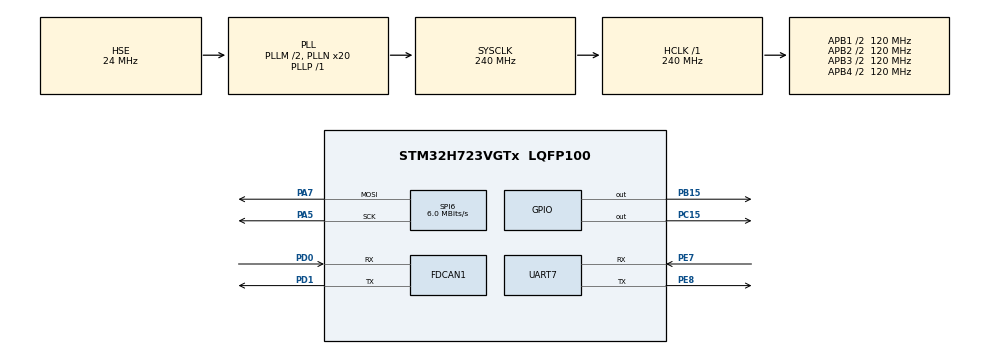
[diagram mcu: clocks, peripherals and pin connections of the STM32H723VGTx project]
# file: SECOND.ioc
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CORTEX_M7.CPU_DCache=Disabled
CORTEX_M7.CPU_ICache=Enabled
CORTEX_M7.MPU_Control=__NULL
CORTEX_M7.default_mode_Activation=1
Dma.Request0=UART7_RX
Dma.Request1=UART7_TX
Dma.UART7_RX.0.Direction=DMA_PERIPH_TO_MEMORY
Dma.UART7_RX.0.EventEnable=DISABLE
Dma.UART7_RX.0.FIFOMode=DMA_FIFOMODE_DISABLE
Dma.UART7_RX.0.Instance=DMA1_Stream1
Dma.UART7_RX.0.MemDataAlignment=DMA_MDATAALIGN_BYTE
Dma.UART7_RX.0.MemInc=DMA_MINC_ENABLE
Dma.UART7_RX.0.Mode=DMA_NORMAL
Dma.UART7_RX.0.PeriphDataAlignment=DMA_PDATAALIGN_BYTE
Dma.UART7_RX.0.PeriphInc=DMA_PINC_DISABLE
Dma.UART7_RX.0.Polarity=HAL_DMAMUX_REQ_GEN_RISING
Dma.UART7_RX.0.Priority=DMA_PRIORITY_LOW
Dma.UART7_RX.0.RequestNumber=1
Dma.UART7_RX.0.SignalID=NONE
Dma.UART7_RX.0.SyncEnable=DISABLE
Dma.UART7_RX.0.SyncPolarity=HAL_DMAMUX_SYNC_NO_EVENT
Dma.UART7_RX.0.SyncRequestNumber=1
Dma.UART7_RX.0.SyncSignalID=NONE
Dma.UART7_TX.1.Direction=DMA_MEMORY_TO_PERIPH
Dma.UART7_TX.1.EventEnable=DISABLE
Dma.UART7_TX.1.FIFOMode=DMA_FIFOMODE_DISABLE
Dma.UART7_TX.1.Instance=DMA1_Stream0
Dma.UART7_TX.1.MemDataAlignment=DMA_MDATAALIGN_BYTE
Dma.UART7_TX.1.MemInc=DMA_MINC_ENABLE
Dma.UART7_TX.1.Mode=DMA_NORMAL
Dma.UART7_TX.1.PeriphDataAlignment=DMA_PDATAALIGN_BYTE
Dma.UART7_TX.1.PeriphInc=DMA_PINC_DISABLE
Dma.UART7_TX.1.Polarity=HAL_DMAMUX_REQ_GEN_RISING
Dma.UART7_TX.1.Priority=DMA_PRIORITY_LOW
Dma.UART7_TX.1.RequestNumber=1
Dma.UART7_TX.1.SignalID=NONE
Dma.UART7_TX.1.SyncEnable=DISABLE
Dma.UART7_TX.1.SyncPolarity=HAL_DMAMUX_SYNC_NO_EVENT
Dma.UART7_TX.1.SyncRequestNumber=1
Dma.UART7_TX.1.SyncSignalID=NONE
FDCAN1.AutoRetransmission=ENABLE
FDCAN1.CalculateBaudRateNominal=1000000
FDCAN1.CalculateTimeBitNominal=1000
FDCAN1.CalculateTimeQuantumNominal=25.0
FDCAN1.DataPrescaler=3
FDCAN1.DataSyncJumpWidth=10
FDCAN1.DataTimeSeg1=29
FDCAN1.DataTimeSeg2=10
FDCAN1.Mode=FDCAN_MODE_NORMAL
FDCAN1.NominalPrescaler=3
FDCAN1.NominalSyncJumpWidth=10
FDCAN1.NominalTimeSeg1=29
FDCAN1.NominalTimeSeg2=10
FDCAN1.RxFifo0ElmtsNbr=16
FDCAN1.StdFiltersNbr=1
FDCAN1.TxFifoQueueElmtsNbr=8
Mcu.Family=STM32H7
Mcu.Name=STM32H723VGTx
Mcu.Package=LQFP100
NVIC.DMA1_Stream0_IRQn=true\:0\:0\:false\:false\:true\:false\:true\:true
NVIC.DMA1_Stream1_IRQn=true\:0\:0\:false\:false\:true\:false\:true\:true
NVIC.FDCAN1_IT0_IRQn=true\:0\:0\:false\:false\:true\:true\:true\:true
NVIC.FDCAN1_IT1_IRQn=true\:0\:0\:false\:false\:true\:true\:true\:true
NVIC.PriorityGroup=NVIC_PRIORITYGROUP_4
NVIC.UART7_IRQn=true\:0\:0\:false\:false\:true\:true\:true\:true
PA13(JTMS/SWDIO).Mode=Serial_Wire
PA13(JTMS/SWDIO).Signal=DEBUG_JTMS-SWDIO
PA14(JTCK/SWCLK).Mode=Serial_Wire
PA14(JTCK/SWCLK).Signal=DEBUG_JTCK-SWCLK
PA5.Mode=TX_Only_Simplex_Unidirect_Master
PA5.Signal=SPI6_SCK
PA7.Mode=TX_Only_Simplex_Unidirect_Master
PA7.Signal=SPI6_MOSI
PB15.Signal=GPIO_Output
PC15-OSC32_OUT.GPIO_PuPd=GPIO_PULLUP
PC15-OSC32_OUT.Signal=GPIO_Output
PD0.Mode=FDCAN_Activate
PD0.Signal=FDCAN1_RX
PD1.Mode=FDCAN_Activate
PD1.Signal=FDCAN1_TX
PE7.Mode=Asynchronous
PE7.Signal=UART7_RX
PE8.Mode=Asynchronous
PE8.Signal=UART7_TX
PH0-OSC_IN.Mode=HSE-External-Oscillator
PH0-OSC_IN.Signal=RCC_OSC_IN
PH1-OSC_OUT.Mode=HSE-External-Oscillator
PH1-OSC_OUT.Signal=RCC_OSC_OUT
ProjectManager.HeapSize=0x200
ProjectManager.StackSize=0x400
ProjectManager.TargetToolchain=CMake
RCC.ADCFreq_Value=48375000
RCC.APB1Freq_Value=120000000
RCC.APB2Freq_Value=120000000
RCC.APB3Freq_Value=120000000
RCC.APB4Freq_Value=120000000
RCC.CortexFreq_Value=240000000
RCC.D1PPRE=RCC_APB3_DIV2
RCC.D2PPRE1=RCC_APB1_DIV2
RCC.D2PPRE2=RCC_APB2_DIV2
RCC.D3PPRE=RCC_APB4_DIV2
RCC.DIVM1=2
RCC.DIVN1=20
RCC.DIVP1=1
RCC.HCLKFreq_Value=240000000
RCC.HSE_VALUE=24000000
RCC.PLLFRACN=0
RCC.PLLSourceVirtual=RCC_PLLSOURCE_HSE
RCC.SPI6CLockSelection=RCC_SPI6CLKSOURCE_HSE
RCC.SYSCLKFreq_VALUE=240000000
RCC.SYSCLKSource=RCC_SYSCLKSOURCE_PLLCLK
RCC.USBFreq_Value=120000000
SPI6.BaudRatePrescaler=SPI_BAUDRATEPRESCALER_4
SPI6.CLKPhase=SPI_PHASE_2EDGE
SPI6.CalculateBaudRate=6.0 MBits/s
SPI6.DataSize=SPI_DATASIZE_8BIT
SPI6.Direction=SPI_DIRECTION_2LINES_TXONLY
SPI6.Mode=SPI_MODE_MASTER
SPI6.NSSPMode=SPI_NSS_PULSE_DISABLE
SPI6.VirtualType=VM_MASTER
VP_MEMORYMAP_VS_MEMORYMAP.Mode=CurAppReg
board=custom

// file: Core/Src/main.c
/* USER CODE BEGIN Header */
/**
  ******************************************************************************
  * @file           : main.c
  * @brief          : Main program body
  ******************************************************************************
  * @attention
  *
  * Copyright (c) 2026 STMicroelectronics.
  * All rights reserved.
  *
  * This software is licensed under terms that can be found in the LICENSE file
  * in the root directory of this software component.
  * If no LICENSE file comes with this software, it is provided AS-IS.
  *
  ******************************************************************************
  */
/* USER CODE END Header */
#include "main.h"
#include "dma.h"
#include "fdcan.h"
#include "spi.h"
#include "usart.h"
#include "gpio.h"

/* USER CODE BEGIN Includes */
#include <string.h>
#include "command.h"
#include "ws2812.h"
#include "drv_can.h"
/* USER CODE END Includes */

/* USER CODE BEGIN PV */
uint8_t receive[3];
uint8_t receive2[]="b";
uint8_t readBuffer[10];
uint8_t command[50];
int commandLength = 0;
volatile int mark=1;
volatile uint32_t can_rx_count        = 0;   /* ← 新增: 收到多少帧 */
volatile uint32_t can_rx_last_id      = 0;   /* ← 新增: 最近一帧的 ID */
volatile uint8_t  can_rx_last_data[8] = {0}; /* ← 新增: 最近一帧的数据 */
/* USER CODE END PV */

void SystemClock_Config(void);

/* USER CODE BEGIN 0 */
/**
 * @brief CAN1 接收回调
 * @note  在 FDCAN1_IT0 中断里被调用, 只做搬运, 不要 HAL_Delay
 * @param Header 帧头: Header->Identifier 就是帧 ID, Header->DataLength 是长度
 * @param Buffer 8 字节数据, 出了回调就失效, 需要就拷走
 */
static void CAN1_RxCpltCallback(FDCAN_RxHeaderTypeDef *Header, uint8_t *Buffer)
{
  can_rx_count++;
  can_rx_last_id = Header->Identifier;
  for (int i = 0; i < 8; i++) {
    can_rx_last_data[i] = Buffer[i];
  }
}

void HAL_UARTEx_RxEventCallback(UART_HandleTypeDef *huart, uint16_t Size){
  if (huart == &huart7){
    Command_Write(readBuffer, Size);

    commandLength = Command_GetCommand(command);
    if (commandLength != 0) {
      HAL_UART_Transmit_DMA(&huart7, (uint8_t *)command, commandLength);
      if (command[0] == '1') {
        mark = 1;
      }
      else if (command[0] == '0') {
        mark = 0;
      }
    }
    HAL_UARTEx_ReceiveToIdle_DMA(&huart7, readBuffer, sizeof(readBuffer));
    __HAL_DMA_DISABLE_IT(&hdma_uart7_rx, DMA_IT_HT);
  }
}
/* USER CODE END 0 */

int main(void)
{

  /* Enable the CPU Cache */

  /* Enable I-Cache---------------------------------------------------------*/
  SCB_EnableICache();

  /* MCU Configuration--------------------------------------------------------*/

  /* Reset of all peripherals, Initializes the Flash interface and the Systick. */
  HAL_Init();

  /* Configure the system clock */
  SystemClock_Config();

  /* Initialize all configured peripherals */
  MX_GPIO_Init();
  MX_DMA_Init();
  MX_SPI6_Init();
  MX_UART7_Init();
  MX_FDCAN1_Init();
  /* USER CODE BEGIN 2 */

  HAL_UARTEx_ReceiveToIdle_DMA(&huart7, readBuffer, sizeof(readBuffer));
  __HAL_DMA_DISABLE_IT(&hdma_uart7_rx, DMA_IT_HT);
  init_finished = true;                      /* ← 新增, 必须放最后 */
  /* USER CODE END 2 */

  /* Infinite loop */
  /* USER CODE BEGIN WHILE */
  while (1)
  {
    // /* 每 500ms 发一帧测试帧, 验证发送通路 */
    // static uint32_t last_tx = 0;
    // if (HAL_GetTick() - last_tx >= 500U) {
    //   last_tx = HAL_GetTick();
    //   uint8_t test_data[8] = {0x11, 0x22, 0x33, 0x44, 0x55, 0x66, 0x77, 0x88};
    //   CAN_Transmit_Data(&hfdcan1, 0x123, test_data, 8);
    // }
    //
    //
    //
    // if (mark == 1) {
    //   //红->绿
    //   for (int i=0; i<=255; i++) {
    //     WS2812_Ctrl(255-i,i,0);
    //     HAL_Delay(1);
    //   }
    //   //绿->蓝
    //   for (int i=0; i<=255; i++) {
    //     WS2812_Ctrl(0,255-i,i);
    //     HAL_Delay(1);
    //   }
    //   //蓝->红
    //   for (int i=0; i<=255; i++) {
    //     WS2812_Ctrl(i,0,255-i);
    //     HAL_Delay(1);
    //   }
    // }
    // else if (mark == 0) {
    //   for (int i=0; i<2; i++) {
    //     WS2812_Ctrl(255,0,255);
    //     HAL_Delay(100);
    //     WS2812_Ctrl(255,255,255);
    //     HAL_Delay(200);
    //   }
    //   while (mark == 0) {
    //     // WS2812_Ctrl(255,0,0);
    //     WS2812_Ctrl(255,0,255);
    //   }
    // }

    // HAL_GPIO_TogglePin(GPIOB, GPIO_PIN_15);
    // HAL_GPIO_WritePin(GPIOC, GPIO_PIN_15, GPIO_PIN_SET);
    // HAL_Delay(100);

    /* USER CODE END WHILE */

  }
}

void SystemClock_Config(void)
{
  RCC_OscInitTypeDef RCC_OscInitStruct = {0};
  RCC_ClkInitTypeDef RCC_ClkInitStruct = {0};

  /** Supply configuration update enable
  */
  HAL_PWREx_ConfigSupply(PWR_LDO_SUPPLY);

  /** Configure the main internal regulator output voltage
  */
  __HAL_PWR_VOLTAGESCALING_CONFIG(PWR_REGULATOR_VOLTAGE_SCALE0);

  while(!__HAL_PWR_GET_FLAG(PWR_FLAG_VOSRDY)) {}

  /** Initializes the RCC Oscillators according to the specified parameters
  * in the RCC_OscInitTypeDef structure.
  */
  RCC_OscInitStruct.OscillatorType = RCC_OSCILLATORTYPE_HSE;
  RCC_OscInitStruct.HSEState = RCC_HSE_ON;
  RCC_OscInitStruct.PLL.PLLState = RCC_PLL_ON;
  RCC_OscInitStruct.PLL.PLLSource = RCC_PLLSOURCE_HSE;
  RCC_OscInitStruct.PLL.PLLM = 2;
  RCC_OscInitStruct.PLL.PLLN = 20;
  RCC_OscInitStruct.PLL.PLLP = 1;
  RCC_OscInitStruct.PLL.PLLQ = 2;
  RCC_OscInitStruct.PLL.PLLR = 2;
  RCC_OscInitStruct.PLL.PLLRGE = RCC_PLL1VCIRANGE_3;
  RCC_OscInitStruct.PLL.PLLVCOSEL = RCC_PLL1VCOWIDE;
  RCC_OscInitStruct.PLL.PLLFRACN = 0;
  if (HAL_RCC_OscConfig(&RCC_OscInitStruct) != HAL_OK)
  {
    Error_Handler();
  }

  /** Initializes the CPU, AHB and APB buses clocks
  */
  RCC_ClkInitStruct.ClockType = RCC_CLOCKTYPE_HCLK|RCC_CLOCKTYPE_SYSCLK
                              |RCC_CLOCKTYPE_PCLK1|RCC_CLOCKTYPE_PCLK2
                              |RCC_CLOCKTYPE_D3PCLK1|RCC_CLOCKTYPE_D1PCLK1;
  RCC_ClkInitStruct.SYSCLKSource = RCC_SYSCLKSOURCE_PLLCLK;
  RCC_ClkInitStruct.SYSCLKDivider = RCC_SYSCLK_DIV1;
  RCC_ClkInitStruct.AHBCLKDivider = RCC_HCLK_DIV1;
  RCC_ClkInitStruct.APB3CLKDivider = RCC_APB3_DIV2;
  RCC_ClkInitStruct.APB1CLKDivider = RCC_APB1_DIV2;
  RCC_ClkInitStruct.APB2CLKDivider = RCC_APB2_DIV2;
  RCC_ClkInitStruct.APB4CLKDivider = RCC_APB4_DIV2;

  if (HAL_RCC_ClockConfig(&RCC_ClkInitStruct, FLASH_LATENCY_3) != HAL_OK)
  {
    Error_Handler();
  }
}

void Error_Handler(void)
{
  __disable_irq();
  while (1)
  {
  }
}
